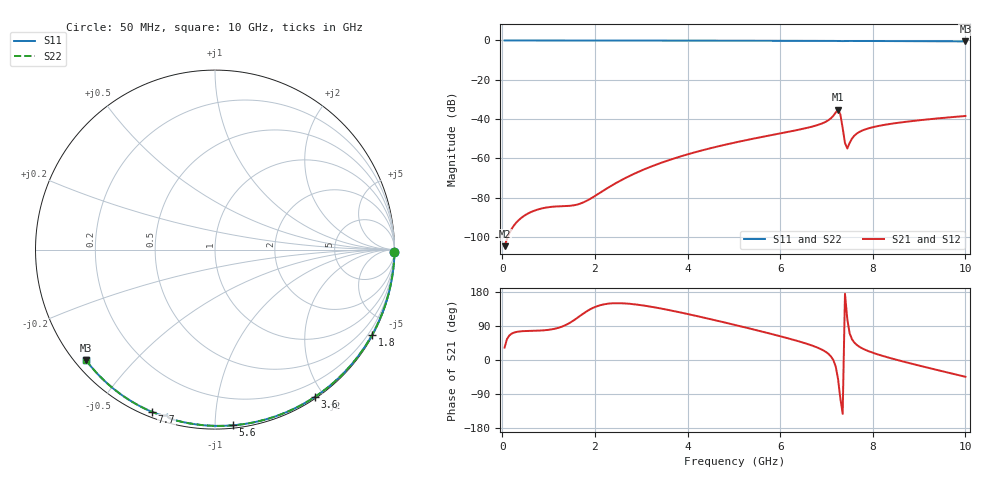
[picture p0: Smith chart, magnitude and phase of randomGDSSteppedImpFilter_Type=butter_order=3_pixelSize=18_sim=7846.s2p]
! freq	dB(S11)	phase(S11)	dB(S12)	phase(S12)
!  dB(S21)	phase(S21)	dB(S22)	phase(S22)
!S-par simulation data
#  GHz  S  DB  R 50
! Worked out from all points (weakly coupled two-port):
!   200 points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, 50 MHz to 10 GHz, reference 50 ohm
!   highest |S21| = -35.23 dB at 7.25 GHz (marker M1); lowest = -104.8 dB at 50 MHz (marker M2)
!   lowest |S11| = -0.5 dB at 10 GHz (marker M3), VSWR 36.45, Z = 1.56 - j18.5 ohm
!   |S11| at or under -10 dB: nowhere
!   |S22| runs from -0.5 to 0.0 dB; largest |S21 - S12| = 0
!   S11 on the Smith chart (normalised r, x): 50 MHz: open; 1.8 GHz: 0.03, -3.91; 3.6 GHz: 0.02, -1.88; 5.6 GHz: 0.02, -1.11; 7.7 GHz: 0.02, -0.69; 10 GHz: 0.03, -0.37
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0.05  -0.00 -0.8  -104.79 32.8  -104.79 32.8  -0.00 -0.8
0.9  -0.02 -14.5  -85.32 78.4  -85.32 78.4  -0.02 -14.5
1.75  -0.04 -27.9  -82.50 122.6  -82.50 122.6  -0.04 -27.9
1.8  -0.04 -28.7  -81.94 126.6  -81.94 126.6  -0.04 -28.7
1.95  -0.04 -31.0  -79.96 137.0  -79.96 137.0  -0.04 -31.0
2.65  -0.05 -41.8  -70.17 149.3  -70.17 149.3  -0.05 -41.8
3.4  -0.07 -53.0  -62.59 136.5  -62.59 136.5  -0.07 -53.0
3.6  -0.08 -56.0  -60.95 131.7  -60.95 131.7  -0.08 -56.0
4.25  -0.09 -65.4  -56.39 114.6  -56.39 114.6  -0.09 -65.4
5.05  -0.12 -76.6  -51.86 91.8  -51.86 91.8  -0.12 -76.6
5.6  -0.14 -84.1  -49.19 75.3  -49.19 75.3  -0.14 -84.1
6.7  -0.19 -98.7  -43.84 37.7  -43.84 37.7  -0.19 -98.7
7.05  -0.21 -103.4  -40.49 15.4  -40.49 15.4  -0.21 -103.4
7.25  -0.36 -106.2  -35.23 -50.2  -35.23 -50.2  -0.36 -106.2
7.3  -0.39 -106.1  -37.74 -101.6  -37.74 -101.6  -0.39 -106.1
7.4  -0.28 -107.1  -52.26 174.8  -52.26 174.8  -0.28 -107.1
7.45  -0.27 -107.8  -55.02 107.9  -55.02 107.9  -0.27 -107.8
7.55  -0.26 -109.2  -50.01 55.0  -50.01 55.0  -0.26 -109.2
7.7  -0.27 -111.1  -46.74 35.8  -46.74 35.8  -0.27 -111.1
7.95  -0.28 -114.3  -44.49 21.4  -44.49 21.4  -0.28 -114.3
8.35  -0.31 -119.3  -42.61 6.0  -42.61 6.0  -0.31 -119.3
10  -0.48 -139.4  -38.48 -44.3  -38.48 -44.3  -0.48 -139.4
